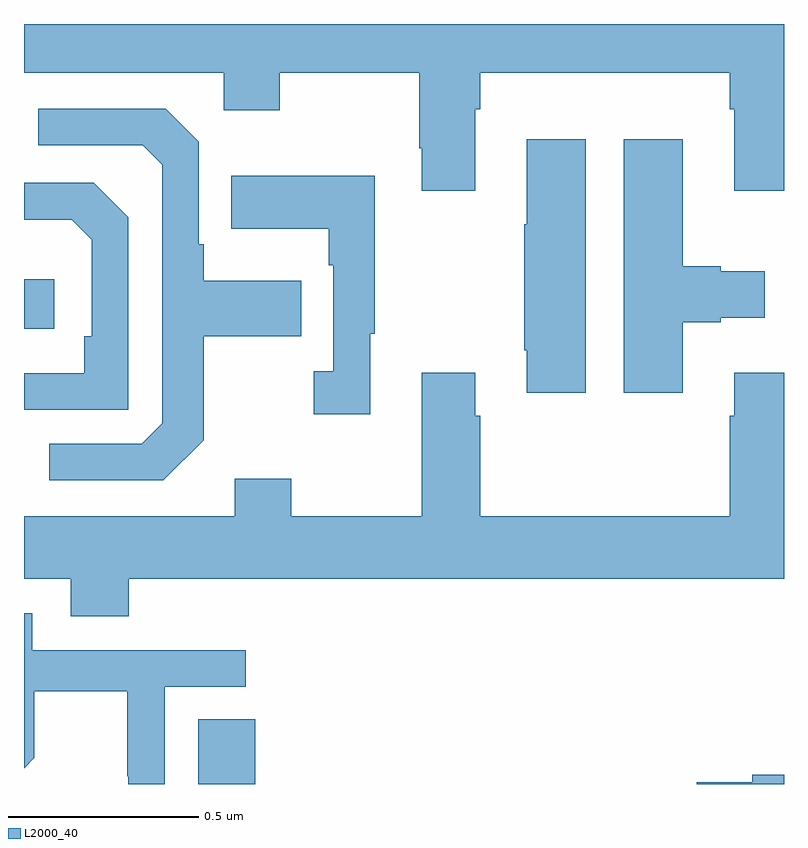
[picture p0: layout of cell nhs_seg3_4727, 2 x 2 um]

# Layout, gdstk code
import gdstk
lib = gdstk.Library(unit=1e-6, precision=1e-09)
def R(c, l, rs):  # rectangles x0, y0, x1, y1
    for r in rs: c.add(gdstk.rectangle(r[:2], r[2:], *l))
def P(c, l, *ps):  # polygons
    for p in ps: c.add(gdstk.Polygon(p, *l))
L2000_40 = (2000, 40)

nhs_seg3_4727 = lib.new_cell('nhs_seg3_4727')
R(nhs_seg3_4727, L2000_40, [(170.459,676.4,170.609,676.571), (170,677.598,170.08,677.728)])
P(nhs_seg3_4727, L2000_40, [(171.187,678.176),(171.2,678.176),(171.2,678.272),(171.857,678.272),(171.857,678.176),(171.869,678.176),(171.869,677.961),(172,677.961),(172,678.4),(170,678.4),(170,678.272),(170.526,678.272),(170.526,678.173),(170.673,678.173),(170.673,678.272),(171.04,678.272),(171.04,678.073),(171.047,678.073),(171.047,677.961),(171.187,677.961)],
  [(170.473,677.305),(170.473,677.578),(170.729,677.578),(170.729,677.725),(170.473,677.725),(170.473,677.821),(170.46,677.821),(170.46,678.09),(170.373,678.177),(170.037,678.177),(170.037,678.081),(170.313,678.081),(170.364,678.03),(170.364,677.349),(170.31,677.295),(170.067,677.295),(170.067,677.199),(170.367,677.199)],
  [(171.478,678.097),(171.323,678.097),(171.323,677.873),(171.316,677.873),(171.316,677.542),(171.323,677.542),(171.323,677.43),(171.478,677.43)],
  [(171.733,677.615),(171.833,677.615),(171.833,677.627),(171.949,677.627),(171.949,677.749),(171.833,677.749),(171.833,677.762),(171.733,677.762),(171.733,678.097),(171.578,678.097),(171.578,677.43),(171.733,677.43)],
  [(170.911,677.585),(170.923,677.585),(170.923,678.001),(170.545,678.001),(170.545,677.861),(170.802,677.861),(170.802,677.765),(170.814,677.765),(170.814,677.486),(170.763,677.486),(170.763,677.373),(170.911,677.373)],
  [(170.274,677.892),(170.184,677.982),(170,677.982),(170,677.885),(170.125,677.885),(170.178,677.832),(170.178,677.578),(170.158,677.578),(170.158,677.481),(170,677.481),(170,677.385),(170.274,677.385)],
  [(170.276,676.94),(172,676.94),(172,677.482),(171.869,677.482),(171.869,677.369),(171.857,677.369),(171.857,677.104),(171.2,677.104),(171.2,677.369),(171.187,677.369),(171.187,677.482),(171.047,677.482),(171.047,677.104),(170.703,677.104),(170.703,677.203),(170.555,677.203),(170.555,677.104),(170,677.104),(170,676.94),(170.123,676.94),(170.123,676.841),(170.276,676.841)],
  [(170.37,676.656),(170.584,676.656),(170.584,676.752),(170.022,676.752),(170.022,676.849),(170,676.849),(170,676.442),(170.027,676.469),(170.027,676.644),(170.272,676.644),(170.272,676.42),(170.274,676.42),(170.274,676.4),(170.37,676.4)],
  [(172,676.424),(171.916,676.424),(171.916,676.404),(171.77,676.404),(171.77,676.4),(172,676.4)])

lib.write_gds('nhs_seg3_4727.gds')
